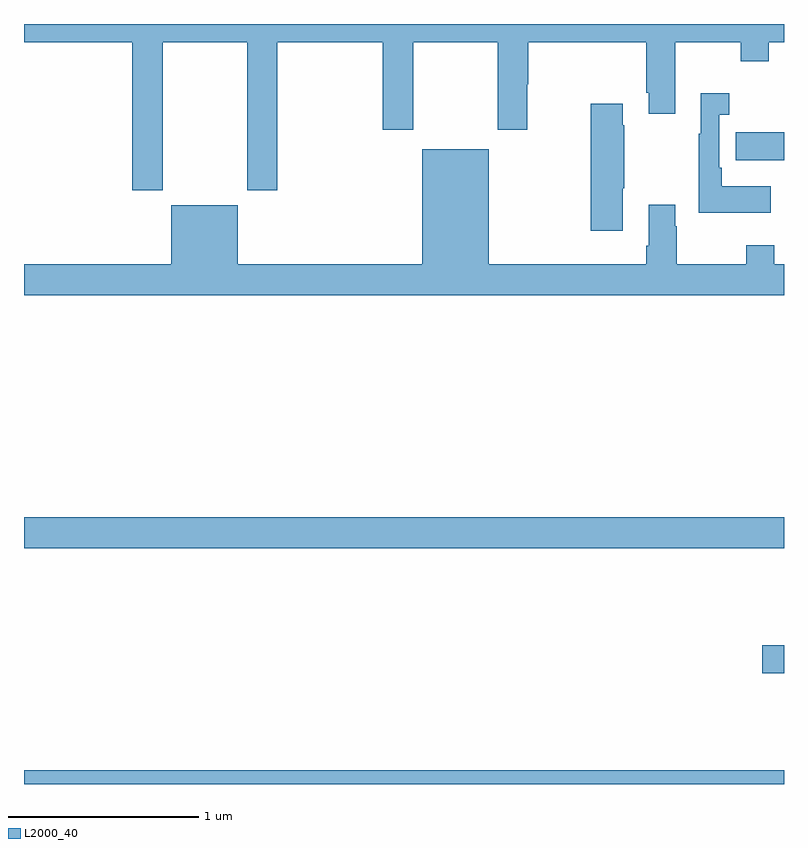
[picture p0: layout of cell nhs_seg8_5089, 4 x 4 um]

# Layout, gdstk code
import gdstk
lib = gdstk.Library(unit=1e-6, precision=1e-09)
def R(c, l, rs):  # rectangles x0, y0, x1, y1
    for r in rs: c.add(gdstk.rectangle(r[:2], r[2:], *l))
def P(c, l, *ps):  # polygons
    for p in ps: c.add(gdstk.Polygon(p, *l))
L2000_40 = (2000, 40)

nhs_seg8_5089 = lib.new_cell('nhs_seg8_5089')
R(nhs_seg8_5089, L2000_40, [(417,1141.9,421,1141.972), (420.885,1142.483,421,1142.63), (417,1143.14,421,1143.304), (420.745,1145.183,421,1145.331)])
P(nhs_seg8_5089, L2000_40, [(417.729,1145.804),(418.174,1145.804),(418.174,1145.025),(418.334,1145.025),(418.334,1145.804),(418.889,1145.804),(418.889,1145.343),(419.049,1145.343),(419.049,1145.804),(419.494,1145.804),(419.494,1145.343),(419.649,1145.343),(419.649,1145.582),(419.654,1145.582),(419.654,1145.804),(420.275,1145.804),(420.275,1145.539),(420.287,1145.539),(420.287,1145.427),(420.427,1145.427),(420.427,1145.804),(420.772,1145.804),(420.772,1145.705),(420.919,1145.705),(420.919,1145.804),(421,1145.804),(421,1145.9),(417,1145.9),(417,1145.804),(417.569,1145.804),(417.569,1145.025),(417.729,1145.025)],
  [(420.929,1145.047),(420.673,1145.047),(420.673,1145.143),(420.66,1145.143),(420.66,1145.423),(420.712,1145.423),(420.712,1145.536),(420.563,1145.536),(420.563,1145.323),(420.552,1145.323),(420.552,1144.907),(420.929,1144.907)],
  [(420.151,1145.035),(420.159,1145.035),(420.159,1145.366),(420.151,1145.366),(420.151,1145.479),(419.984,1145.479),(419.984,1144.812),(420.151,1144.812)],
  [(421,1144.636),(420.948,1144.636),(420.948,1144.735),(420.802,1144.735),(420.802,1144.636),(420.435,1144.636),(420.435,1144.835),(420.427,1144.835),(420.427,1144.948),(420.287,1144.948),(420.287,1144.732),(420.275,1144.732),(420.275,1144.636),(419.446,1144.636),(419.446,1145.242),(419.096,1145.242),(419.096,1144.636),(418.126,1144.636),(418.126,1144.945),(417.776,1144.945),(417.776,1144.636),(417,1144.636),(417,1144.472),(421,1144.472)])

lib.write_gds('nhs_seg8_5089.gds')
